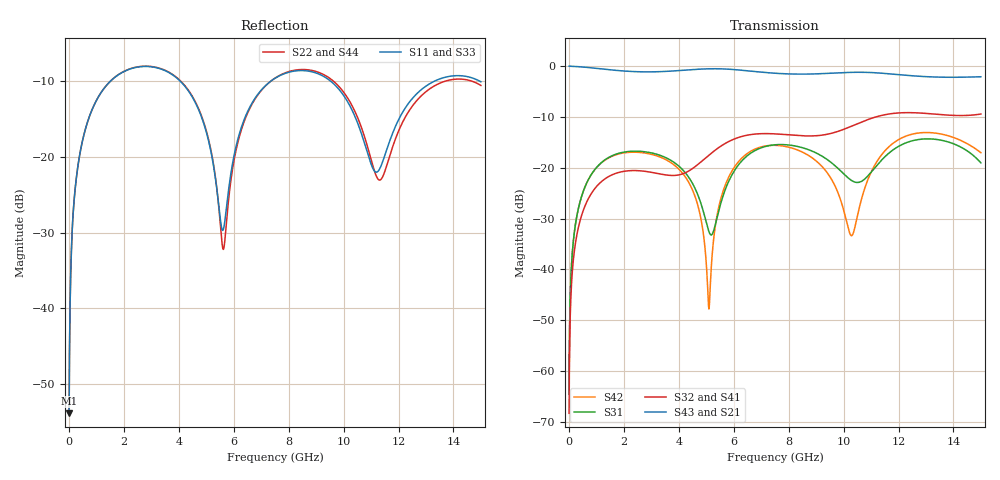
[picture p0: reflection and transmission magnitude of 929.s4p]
! Created with skrf 1.8.0 (http://scikit-rf.org).
# GHz S RI R 50.0
!freq ReS11 ImS11 ReS12 ImS12 ReS13 ImS13
! ReS14 ImS14
! ReS21 ImS21 ReS22 ImS22 ReS23 ImS23
! ReS24 ImS24
! ReS31 ImS31 ReS32 ImS32 ReS33 ImS33
! ReS34 ImS34
! ReS41 ImS41 ReS42 ImS42 ReS43 ImS43
! ReS44 ImS44
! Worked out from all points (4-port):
!   2499 points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, 5 MHz to 15 GHz, reference 50 ohm
!   strongest paths, dB at 5 MHz, 3.476 GHz, 7.19 GHz, 11.1 GHz, 15 GHz:
!     S43: 0.0, -1.1, -1.3, -1.3, -2.1
!     S21: 0.0, -1.1, -1.3, -1.3, -2.1
!     S32: -68.3, -21.4, -13.3, -10.1, -9.4
!     S41: -68.3, -21.4, -13.3, -10.1, -9.4
!     S31: -64.5, -17.9, -15.8, -20.3, -19.0
!     S42: -64.5, -18.3, -15.7, -19.8, -17.0
!   lowest |S11| = -53.9 dB at 5 MHz (marker M1), VSWR 1.00, Z = 50.2 + j0.123 ohm
!   |S11| at or under -10 dB: start of sweep to 1.5 GHz; 4.063 GHz to 7.335 GHz (3.272 GHz wide, 57.4 % of centre); 9.543 GHz to 13.29 GHz (3.744 GHz wide, 32.8 % of centre) (the widest 3 of 4)
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0.005  0.0016 0.00123  0.9984 -0.00312  7.88e-05 0.000589  -7.68e-05 -0.000377
       0.9984 -0.00312  0.0016 0.00123  -7.68e-05 -0.000377  7.88e-05 0.000589
       7.88e-05 0.000589  -7.68e-05 -0.000377  0.0016 0.00123  0.9984 -0.00312
       -7.68e-05 -0.000377  7.88e-05 0.000589  0.9984 -0.00312  0.0016 0.00123
0.3126303  0.0231 0.0808  0.9685 -0.1944  0.0101 0.0351  -0.00831 -0.0222
           0.9685 -0.1944  0.0231 0.0808  -0.00831 -0.0222  0.0097 0.0351
           0.0101 0.0351  -0.00831 -0.0222  0.0231 0.0808  0.9685 -0.1944
           -0.00831 -0.0222  0.0097 0.0351  0.9685 -0.1944  0.0231 0.0808
1.569404  0.2681 0.1836  0.5561 -0.7271  0.1199 0.0536  -0.0848 -0.00768
          0.5561 -0.7271  0.2697 0.1825  -0.0849 -0.00758  0.1152 0.0598
          0.1199 0.0536  -0.0849 -0.00758  0.2681 0.1836  0.5561 -0.7271
          -0.0848 -0.00768  0.1152 0.0598  0.5561 -0.7271  0.2697 0.1825
5.095873  0.0637 -0.1078  -0.879 -0.335  -0.0208 -0.011  -0.044 0.1256
          -0.879 -0.335  0.057 -0.1145  -0.0425 0.1261  0.00404 0.000611
          -0.0208 -0.011  -0.0425 0.1261  0.0646 -0.1074  -0.879 -0.3351
          -0.044 0.1256  0.00404 0.000611  -0.879 -0.3351  0.0561 -0.1148
8.697374  0.3692 -0.0341  0.0199 0.8341  0.1119 -0.1021  0.1966 -0.0568
          0.0199 0.8341  0.3759 -0.0376  0.1964 -0.0606  0.1142 -0.0691
          0.1119 -0.1021  0.1964 -0.0606  0.3679 -0.0335  0.0195 0.8346
          0.1966 -0.0568  0.1142 -0.0691  0.0195 0.8346  0.3753 -0.0377
11.45477  0.089 0.0382  0.8488 0.00602  -0.0046 0.1244  -0.00745 -0.3308
          0.8488 0.00602  0.0746 0.0158  -0.0146 -0.3301  0.0503 0.1325
          -0.0046 0.1244  -0.0146 -0.3301  0.0925 0.0371  0.8489 0.00678
          -0.00745 -0.3308  0.0503 0.1325  0.8489 0.00678  0.0712 0.0171
15  0.2972 -0.1034  -0.2233 -0.7513  0.036 -0.1057  -0.3141 0.1222
    -0.2233 -0.7513  0.2824 -0.094  -0.3107 0.1325  0.0261 -0.1383
    0.036 -0.1057  -0.3107 0.1325  0.2925 -0.1005  -0.2231 -0.7531
    -0.3141 0.1222  0.0261 -0.1383  -0.2231 -0.7531  0.2778 -0.0935
